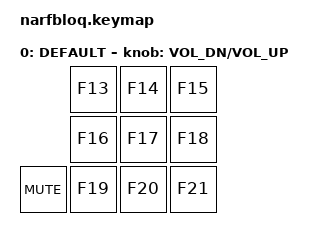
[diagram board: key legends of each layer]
#include <behaviors.dtsi>
#include <dt-bindings/zmk/keys.h>
#include <dt-bindings/zmk/bt.h>
#include <dt-bindings/zmk/outputs.h>

#define DEFAULT 0

/ {
    keymap {
        compatible = "zmk,keymap";
        default_layer {
            label= "DEFAULT";
            bindings = <
                        &kp F13     &kp F14     &kp F15
                        &kp F16     &kp F17     &kp F18
            &kp C_MUTE  &kp F19     &kp F20     &kp F21
            >;
            sensor-bindings = <&inc_dec_kp C_VOL_DN C_VOL_UP>;
        };
    };
};
